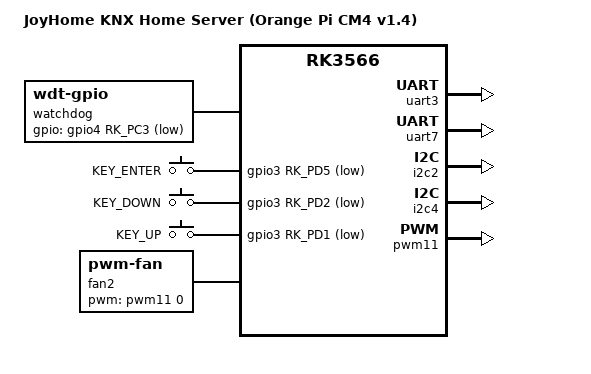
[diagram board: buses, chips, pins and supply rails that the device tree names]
// SPDX-License-Identifier: (GPL-2.0+ OR MIT)
/*
 * JoyHome "KNX HOME SERVER": Orange Pi CM4 v1.4 on JoyHome's carrier board,
 * for mainline Linux 6.18 LTS (joyhome-knx-kernel build).
 *
 * Base: Orange Pi's CM4 v1.4 device tree (orange-pi-6.6-rk35xx branch), which
 * matches this board: VCCIO5 at 1.8 V and the Ethernet PHY reset on GPIO4_C4.
 *
 * Added here, to match what the box ran on 5.10:
 *  - JoyHome's external hardware watchdog (GPIO4_C3), without which the
 *    board resets within seconds of the kernel starting.
 *  - what /boot/orangepiEnv.txt overlays turned on (no overlays are used
 *    with this file): uart3-m0 = KNX TP-UART (/dev/ttyS3 -> /dev/knx),
 *    uart7-m2 = Zigbee (/dev/ttyS7), i2c2-m1 = OLED + DS1307 RTC,
 *    i2c4-m0, pwm11-m1 = second fan. uart9-m2 is left off: nothing uses it.
 *  - Ethernet alias ethernet1, so the interface stays "end1".
 *  - JoyHome's three front buttons (gpio-keys, /dev/input/by-path/
 *    platform-buttons-event).
 *  - the second fan, and fan steps from the CPU thermal zone at JoyHome's
 *    temperatures (55/63/73/77 °C -> 39/59/78/100 %). Mainline pwm-fan ignores
 *    "rockchip,temp-trips", so without these maps the fans would run flat out.
 *
 * The DS1307 is still added at boot by /etc/rc.local, so RTC numbering stays
 * rk808 = rtc0, ds1307 = rtc1 as before.
 */

#include "rk3566-orangepi-cm4-v1.4-opi66.dtsi"
#include <dt-bindings/input/input.h>

/ {
	model = "JoyHome KNX Home Server (Orange Pi CM4 v1.4)";

	/delete-node/ sprd-mtty;

	/*
	 * JoyHome's 5.10 tree names the Ethernet "ethernet1", which makes systemd
	 * call it end1; NetworkManager's "Supervisor end1" connection depends on it.
	 */
	aliases {
		/delete-property/ ethernet0;
		ethernet1 = &gmac1;
	};

	/*
	 * Same ramoops area as JoyHome's 5.10 device tree. (On this board the
	 * firmware doesn't keep RAM across a reset, so it rarely survives one.)
	 */
	reserved-memory {
		#address-cells = <2>;
		#size-cells = <2>;
		ranges;

		ramoops@110000 {
			compatible = "ramoops";
			reg = <0x0 0x110000 0x0 0xf0000>;
			record-size = <0x20000>;
			console-size = <0x80000>;
			ftrace-size = <0x0>;
			pmsg-size = <0x50000>;
		};
	};

	/*
	 * JoyHome's external hardware watchdog on GPIO4_C3. It resets the whole
	 * board unless this pin is toggled about every second from early boot,
	 * so the kernel needs CONFIG_GPIO_WATCHDOG=y and
	 * CONFIG_GPIO_WATCHDOG_ARCH_INITCALL=y (a module loads too late).
	 * Same settings as JoyHome's 5.10 device tree.
	 */
	watchdog {
		compatible = "linux,wdt-gpio";
		gpios = <&gpio4 RK_PC3 GPIO_ACTIVE_LOW>;
		hw_algo = "toggle";
		hw_margin_ms = <1000>;
		always-running;
	};

	buttons {
		compatible = "gpio-keys";
		pinctrl-names = "default";
		pinctrl-0 = <&joyhome_buttons>;

		button-enter {
			label = "KEY_ENTER";
			gpios = <&gpio3 RK_PD5 GPIO_ACTIVE_LOW>;
			linux,code = <KEY_ENTER>;
		};

		button-down {
			label = "KEY_DOWN";
			gpios = <&gpio3 RK_PD2 GPIO_ACTIVE_LOW>;
			linux,code = <KEY_DOWN>;
		};

		button-up {
			label = "KEY_UP";
			gpios = <&gpio3 RK_PD1 GPIO_ACTIVE_LOW>;
			linux,code = <KEY_UP>;
		};
	};

	fan2: pwm-fan2 {
		compatible = "pwm-fan";
		#cooling-cells = <2>;
		pwms = <&pwm11 0 50000 0>;
		cooling-levels = <0 50 100 150 200 255>;
	};
};

&fan {
	cooling-levels = <0 50 100 150 200 255>;
	/delete-property/ rockchip,temp-trips;
};

/* was overlay uart3-m0: KNX TP-UART */
&uart3 {
	pinctrl-names = "default";
	pinctrl-0 = <&uart3m0_xfer>;
	status = "okay";
};

/* was overlay uart7-m2: Zigbee */
&uart7 {
	pinctrl-names = "default";
	pinctrl-0 = <&uart7m2_xfer>;
	status = "okay";
};

/* was overlay i2c2-m1: OLED (0x3c) and DS1307 RTC (0x68) */
&i2c2 {
	pinctrl-names = "default";
	pinctrl-0 = <&i2c2m1_xfer>;
	status = "okay";
};

/* was overlay i2c4-m0 */
&i2c4 {
	pinctrl-names = "default";
	pinctrl-0 = <&i2c4m0_xfer>;
	status = "okay";
};

/* was overlay pwm11-m1: second fan */
&pwm11 {
	pinctrl-names = "default";
	pinctrl-0 = <&pwm11m1_pins>;
	status = "okay";
};

&cpu_thermal {
	trips {
		fan_t55: fan-t55 {
			temperature = <55000>;
			hysteresis = <2000>;
			type = "active";
		};
		fan_t63: fan-t63 {
			temperature = <63000>;
			hysteresis = <2000>;
			type = "active";
		};
		fan_t73: fan-t73 {
			temperature = <73000>;
			hysteresis = <2000>;
			type = "active";
		};
		fan_t77: fan-t77 {
			temperature = <77000>;
			hysteresis = <2000>;
			type = "active";
		};
	};

	cooling-maps {
		fan-map55 {
			trip = <&fan_t55>;
			cooling-device = <&fan 2 2>, <&fan2 2 2>;
		};
		fan-map63 {
			trip = <&fan_t63>;
			cooling-device = <&fan 3 3>, <&fan2 3 3>;
		};
		fan-map73 {
			trip = <&fan_t73>;
			cooling-device = <&fan 4 4>, <&fan2 4 4>;
		};
		fan-map77 {
			trip = <&fan_t77>;
			cooling-device = <&fan 5 5>, <&fan2 5 5>;
		};
	};
};

&pinctrl {
	joyhome {
		joyhome_buttons: joyhome-buttons {
			rockchip,pins =
				<3 RK_PD5 RK_FUNC_GPIO &pcfg_pull_none>,
				<3 RK_PD2 RK_FUNC_GPIO &pcfg_pull_none>,
				<3 RK_PD1 RK_FUNC_GPIO &pcfg_pull_none>;
		};
	};
};
